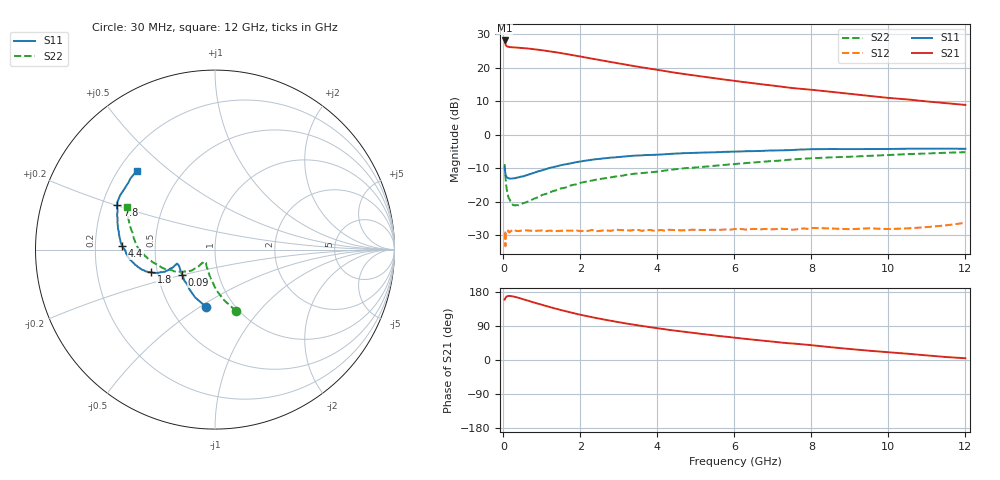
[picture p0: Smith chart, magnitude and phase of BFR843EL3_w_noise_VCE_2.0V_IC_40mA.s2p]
! Infineon Technologies  Discrete & RF Semiconductors
! BFR843EL3
! VCE =  2.0 V,  IC =  40 mA
! Common Emitter S-Parameters:  Aug 2013
# GHz  S  MA  R  50
!  f  S11  S21  S12  S22
! GHz  MAG  ANG  MAG  ANG  MAG  ANG  MAG  ANG
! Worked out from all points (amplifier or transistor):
!   103 points, 30 MHz to 12 GHz, reference 50 ohm
!   highest |S21| = 28.1 dB at 30 MHz (marker M1)
!   |S21| within 3 dB of that: start of sweep to 1.049 GHz
!   unconditionally stable (mu >= 1): 138.4 MHz to 243.8 MHz; 256.8 MHz to 990.7 MHz; 2.335 GHz to end of sweep (the widest 3 of 7)
!   at 400 MHz: K = 1.01, MAG = 26.6 dB, |S12| = -28.8 dB
!   at 3.7 GHz: K = 1.08, MAG = 22.4 dB, |S12| = -28.5 dB
!   at 12 GHz: K = 1.84, MAG = 12.3 dB, |S12| = -26.3 dB
!   lowest NFmin = 1.51 dB at 450 MHz
!   S11 on the Smith chart (normalised r, x): 30 MHz: 0.74, -0.53; 90 MHz: 0.67, -0.20; 1.8 GHz: 0.46, -0.14; 4.4 GHz: 0.32, +0.02; 7.8 GHz: 0.26, +0.20; 12 GHz: 0.28, +0.39
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0.03  0.3239 -98.6  25.43 159.4  0.0347 28.6  0.3631 -71.0
0.04  0.2889 -112.4  23.54 161.4  0.0347 19.7  0.2871 -79.7
0.06  0.2475 -129.0  21.67 165.1  0.0354 24.3  0.2066 -90.6
0.09  0.2302 -142.7  20.83 167.8  0.0363 11.5  0.1481 -101.7
0.15  0.2208 -152.6  20.33 169.2  0.0346 4.2  0.11 -114.4
0.25  0.2224 -157.9  20.08 167.8  0.0382 1.9  0.0888 -124.3
0.6  0.2474 -157.7  19.37 157.7  0.0372 2.7  0.0982 -132.4
0.8  0.2695 -157.1  18.8 151.5  0.0365 3.3  0.1105 -133.6
1.1  0.3044 -156.2  17.83 142.7  0.0362 3.4  0.1299 -134.4
1.5  0.3501 -158.2  16.43 131.6  0.0367 6.3  0.1577 -137.2
1.8  0.3775 -160.4  15.35 124.2  0.0368 5.1  0.1768 -138.6
2.1  0.4058 -162.7  14.28 117.2  0.0368 7.2  0.1963 -141.5
2.6  0.4416 -167.5  12.67 107.0  0.0371 7.1  0.2215 -146.1
3.1  0.4685 -172.1  11.29 97.9  0.0374 8.5  0.2446 -150.0
4.1  0.5048 179.8  9.071 82.4  0.0377 8.4  0.2846 -157.0
4.4  0.5179 177.7  8.496 78.2  0.0377 11.8  0.3008 -159.1
5.2  0.5391 171.7  7.307 68.2  0.0377 13.1  0.331 -165.1
6.1  0.5588 165.8  6.233 57.9  0.0392 15.5  0.368 -171.0
7.8  0.5996 155.4  4.782 41.0  0.0397 19.9  0.4366 177.3
8.5  0.6089 150.2  4.36 33.8  0.0397 20.2  0.4573 171.9
10.5  0.6154 140.0  3.349 16.5  0.0398 30.0  0.5115 160.5
12  0.6137 134.8  2.774 4.6  0.0482 39.2  0.546 154.1
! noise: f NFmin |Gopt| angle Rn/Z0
0.45  1.51  0.24  180  0.12
0.9  1.55  0.25  179  0.11
1.5  1.56  0.26  178  0.11
1.9  1.55  0.27  179  0.11
2.4  1.57  0.29  183  0.11
3.5  1.57  0.3  188  0.11
5.5  1.58  0.38  199  0.1
8  1.59  0.47  213  0.11
10  1.6  0.54  230  0.15
